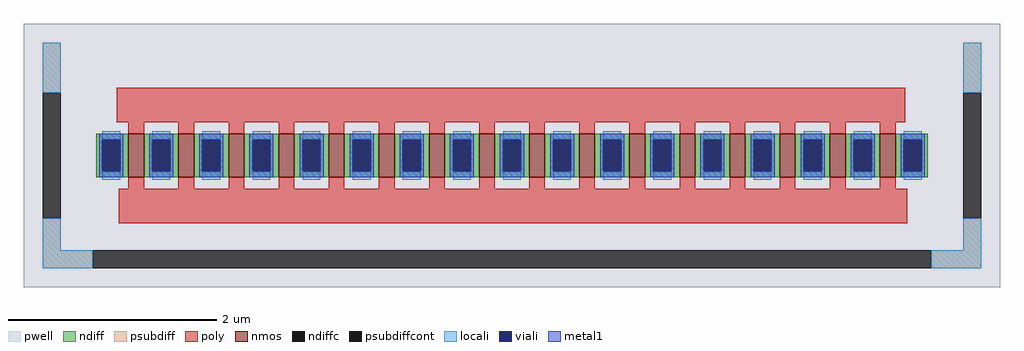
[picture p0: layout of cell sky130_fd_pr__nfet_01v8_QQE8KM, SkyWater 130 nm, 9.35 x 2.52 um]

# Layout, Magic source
magic
tech sky130A
magscale 1 2
<< pwell >>
rect -935 -252 935 252
<< nmos >>
rect -735 -42 -705 42
rect -639 -42 -609 42
rect -543 -42 -513 42
rect -447 -42 -417 42
rect -351 -42 -321 42
rect -255 -42 -225 42
rect -159 -42 -129 42
rect -63 -42 -33 42
rect 33 -42 63 42
rect 129 -42 159 42
rect 225 -42 255 42
rect 321 -42 351 42
rect 417 -42 447 42
rect 513 -42 543 42
rect 609 -42 639 42
rect 705 -42 735 42
<< ndiff >>
rect -797 30 -735 42
rect -797 -30 -785 30
rect -751 -30 -735 30
rect -797 -42 -735 -30
rect -705 30 -639 42
rect -705 -30 -689 30
rect -655 -30 -639 30
rect -705 -42 -639 -30
rect -609 30 -543 42
rect -609 -30 -593 30
rect -559 -30 -543 30
rect -609 -42 -543 -30
rect -513 30 -447 42
rect -513 -30 -497 30
rect -463 -30 -447 30
rect -513 -42 -447 -30
rect -417 30 -351 42
rect -417 -30 -401 30
rect -367 -30 -351 30
rect -417 -42 -351 -30
rect -321 30 -255 42
rect -321 -30 -305 30
rect -271 -30 -255 30
rect -321 -42 -255 -30
rect -225 30 -159 42
rect -225 -30 -209 30
rect -175 -30 -159 30
rect -225 -42 -159 -30
rect -129 30 -63 42
rect -129 -30 -113 30
rect -79 -30 -63 30
rect -129 -42 -63 -30
rect -33 30 33 42
rect -33 -30 -17 30
rect 17 -30 33 30
rect -33 -42 33 -30
rect 63 30 129 42
rect 63 -30 79 30
rect 113 -30 129 30
rect 63 -42 129 -30
rect 159 30 225 42
rect 159 -30 175 30
rect 209 -30 225 30
rect 159 -42 225 -30
rect 255 30 321 42
rect 255 -30 271 30
rect 305 -30 321 30
rect 255 -42 321 -30
rect 351 30 417 42
rect 351 -30 367 30
rect 401 -30 417 30
rect 351 -42 417 -30
rect 447 30 513 42
rect 447 -30 463 30
rect 497 -30 513 30
rect 447 -42 513 -30
rect 543 30 609 42
rect 543 -30 559 30
rect 593 -30 609 30
rect 543 -42 609 -30
rect 639 30 705 42
rect 639 -30 655 30
rect 689 -30 705 30
rect 639 -42 705 -30
rect 735 30 797 42
rect 735 -30 751 30
rect 785 -30 797 30
rect 735 -42 797 -30
<< ndiffc >>
rect -785 -30 -751 30
rect -689 -30 -655 30
rect -593 -30 -559 30
rect -497 -30 -463 30
rect -401 -30 -367 30
rect -305 -30 -271 30
rect -209 -30 -175 30
rect -113 -30 -79 30
rect -17 -30 17 30
rect 79 -30 113 30
rect 175 -30 209 30
rect 271 -30 305 30
rect 367 -30 401 30
rect 463 -30 497 30
rect 559 -30 593 30
rect 655 -30 689 30
rect 751 -30 785 30
<< psubdiff >>
rect -899 120 -865 216
rect 865 120 899 216
rect -899 -182 -865 -120
rect 865 -182 899 -120
rect -899 -216 -803 -182
rect 803 -216 899 -182
<< psubdiffcont >>
rect -899 -120 -865 120
rect 865 -120 899 120
rect -803 -216 803 -182
<< poly >>
rect -757 64 753 130
rect -735 42 -705 64
rect -639 42 -609 64
rect -543 42 -513 64
rect -447 42 -417 64
rect -351 42 -321 64
rect -255 42 -225 64
rect -159 42 -129 64
rect -63 42 -33 64
rect 33 42 63 64
rect 129 42 159 64
rect 225 42 255 64
rect 321 42 351 64
rect 417 42 447 64
rect 513 42 543 64
rect 609 42 639 64
rect 705 42 735 64
rect -735 -64 -705 -42
rect -639 -64 -609 -42
rect -543 -64 -513 -42
rect -447 -64 -417 -42
rect -351 -64 -321 -42
rect -255 -64 -225 -42
rect -159 -64 -129 -42
rect -63 -64 -33 -42
rect 33 -64 63 -42
rect 129 -64 159 -42
rect 225 -64 255 -42
rect 321 -64 351 -42
rect 417 -64 447 -42
rect 513 -64 543 -42
rect 609 -64 639 -42
rect 705 -64 735 -42
rect -753 -130 757 -64
<< locali >>
rect -899 120 -865 216
rect 865 120 899 216
rect -785 30 -751 46
rect -785 -46 -751 -30
rect -689 30 -655 46
rect -689 -46 -655 -30
rect -593 30 -559 46
rect -593 -46 -559 -30
rect -497 30 -463 46
rect -497 -46 -463 -30
rect -401 30 -367 46
rect -401 -46 -367 -30
rect -305 30 -271 46
rect -305 -46 -271 -30
rect -209 30 -175 46
rect -209 -46 -175 -30
rect -113 30 -79 46
rect -113 -46 -79 -30
rect -17 30 17 46
rect -17 -46 17 -30
rect 79 30 113 46
rect 79 -46 113 -30
rect 175 30 209 46
rect 175 -46 209 -30
rect 271 30 305 46
rect 271 -46 305 -30
rect 367 30 401 46
rect 367 -46 401 -30
rect 463 30 497 46
rect 463 -46 497 -30
rect 559 30 593 46
rect 559 -46 593 -30
rect 655 30 689 46
rect 655 -46 689 -30
rect 751 30 785 46
rect 751 -46 785 -30
rect -899 -182 -865 -120
rect 865 -182 899 -120
rect -899 -216 -803 -182
rect 803 -216 899 -182
<< viali >>
rect -785 -30 -751 30
rect -689 -30 -655 30
rect -593 -30 -559 30
rect -497 -30 -463 30
rect -401 -30 -367 30
rect -305 -30 -271 30
rect -209 -30 -175 30
rect -113 -30 -79 30
rect -17 -30 17 30
rect 79 -30 113 30
rect 175 -30 209 30
rect 271 -30 305 30
rect 367 -30 401 30
rect 463 -30 497 30
rect 559 -30 593 30
rect 655 -30 689 30
rect 751 -30 785 30
<< metal1 >>
rect -791 30 -745 42
rect -791 -30 -785 30
rect -751 -30 -745 30
rect -791 -42 -745 -30
rect -695 30 -649 42
rect -695 -30 -689 30
rect -655 -30 -649 30
rect -695 -42 -649 -30
rect -599 30 -553 42
rect -599 -30 -593 30
rect -559 -30 -553 30
rect -599 -42 -553 -30
rect -503 30 -457 42
rect -503 -30 -497 30
rect -463 -30 -457 30
rect -503 -42 -457 -30
rect -407 30 -361 42
rect -407 -30 -401 30
rect -367 -30 -361 30
rect -407 -42 -361 -30
rect -311 30 -265 42
rect -311 -30 -305 30
rect -271 -30 -265 30
rect -311 -42 -265 -30
rect -215 30 -169 42
rect -215 -30 -209 30
rect -175 -30 -169 30
rect -215 -42 -169 -30
rect -119 30 -73 42
rect -119 -30 -113 30
rect -79 -30 -73 30
rect -119 -42 -73 -30
rect -23 30 23 42
rect -23 -30 -17 30
rect 17 -30 23 30
rect -23 -42 23 -30
rect 73 30 119 42
rect 73 -30 79 30
rect 113 -30 119 30
rect 73 -42 119 -30
rect 169 30 215 42
rect 169 -30 175 30
rect 209 -30 215 30
rect 169 -42 215 -30
rect 265 30 311 42
rect 265 -30 271 30
rect 305 -30 311 30
rect 265 -42 311 -30
rect 361 30 407 42
rect 361 -30 367 30
rect 401 -30 407 30
rect 361 -42 407 -30
rect 457 30 503 42
rect 457 -30 463 30
rect 497 -30 503 30
rect 457 -42 503 -30
rect 553 30 599 42
rect 553 -30 559 30
rect 593 -30 599 30
rect 553 -42 599 -30
rect 649 30 695 42
rect 649 -30 655 30
rect 689 -30 695 30
rect 649 -42 695 -30
rect 745 30 791 42
rect 745 -30 751 30
rect 785 -30 791 30
rect 745 -42 791 -30
<< properties >>
string gencell sky130_fd_pr__nfet_01v8
string FIXED_BBOX -882 -199 882 199
string parameters w 0.420 l 0.150 m 1 nf 16 diffcov 100 polycov 100 guard 1 glc 1 grc 1 gtc 0 gbc 1 tbcov 100 rlcov 100 topc 0 botc 0 poverlap 0 doverlap 1 lmin 0.15 wmin 0.42 compatible {sky130_fd_pr__nfet_01v8 sky130_fd_pr__nfet_01v8_lvt  sky130_fd_bs_flash__special_sonosfet_star  sky130_fd_pr__nfet_g5v0d10v5 sky130_fd_pr__nfet_05v0_nvt  sky130_fd_pr__nfet_03v3_nvt} full_metal 1 viasrc 100 viadrn 100 viagate 100 viagb 0 viagr 0 viagl 0 viagt 0
string library sky130
<< end >>
